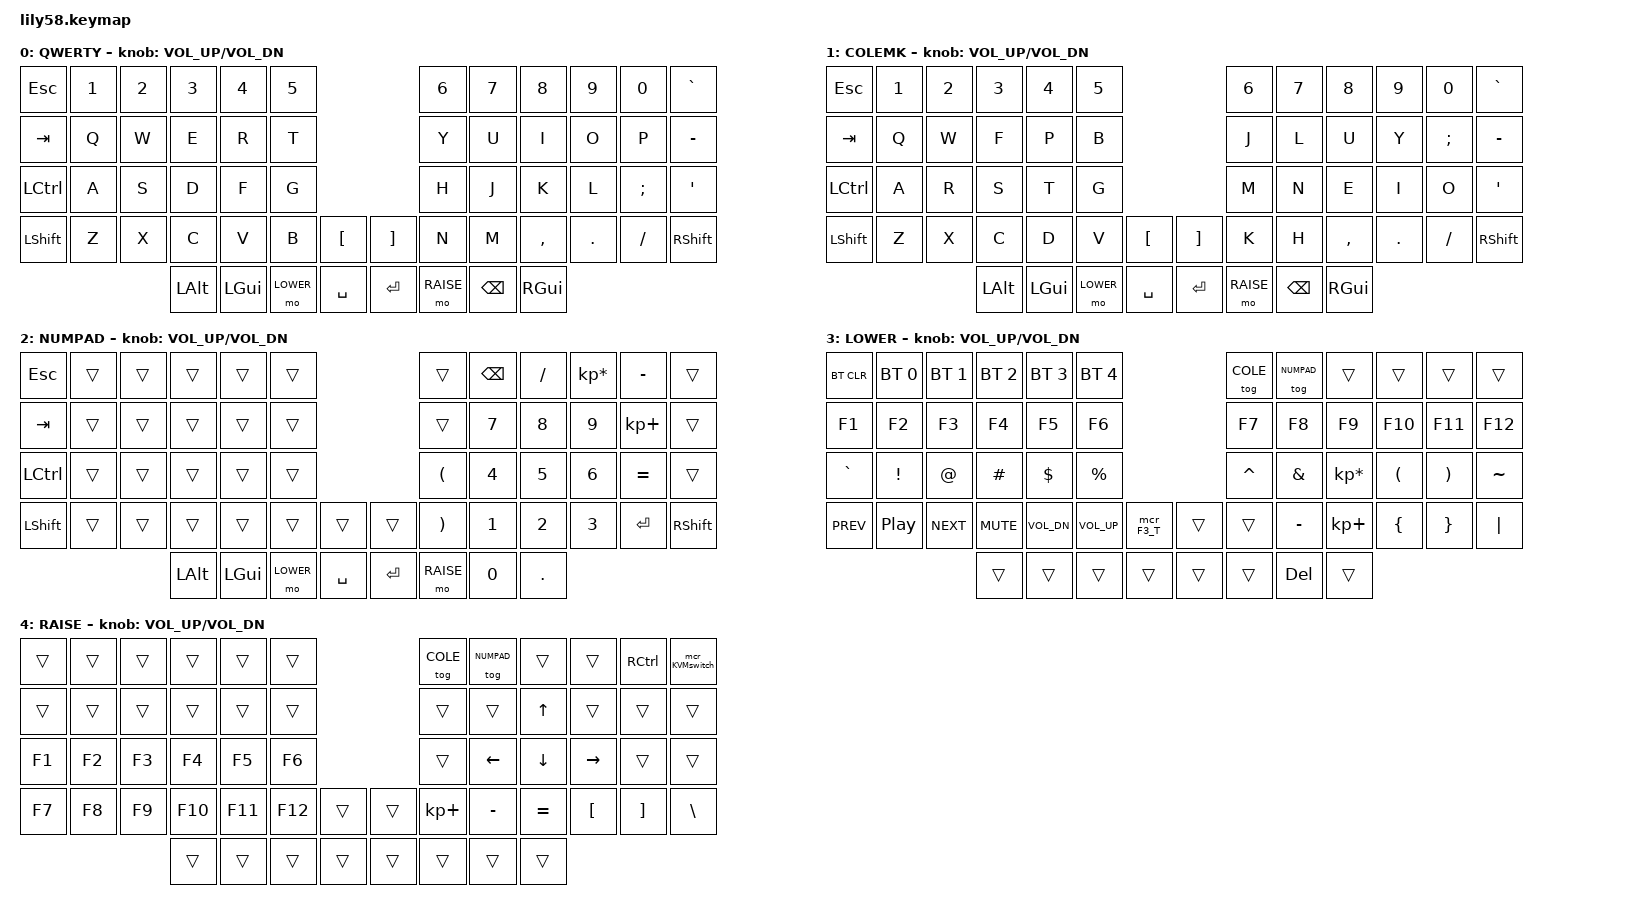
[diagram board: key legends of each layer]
/*
 * Copyright (c) 2020 The ZMK Contributors
 *
 * SPDX-License-Identifier: MIT
 */

#include <behaviors.dtsi>
#include <dt-bindings/zmk/keys.h>
#include <dt-bindings/zmk/bt.h>
#include <dt-bindings/zmk/ext_power.h>

/ {
	macros {
		mcr_KVMswitch: mcr_KVMswitch {
			label = "mcr_KVMswitch";
			compatible = "zmk,behavior-macro";
			#binding-cells = <0>;
			wait-ms = <20>;
			tap-ms = <10>;
			bindings =
				<&macro_tap &kp RCTRL>,
				<&macro_tap &kp RCTRL>,
				<&macro_tap &kp PG_DN>;
		};

		mcr_F3_T: mcr_F3_T {
			label = "mcr_F3_T";
			compatible = "zmk,behavior-macro";
			#binding-cells = <0>;
			wait-ms = <20>;
			tap-ms = <10>;
			bindings =
				<&macro_tap &kt F3>,
				<&macro_tap &kp T>,
				<&macro_tap &kt F3>;
		};
	};
};

#define QWERTY 0
#define COLE 1
#define NUMPAD 2
#define LOWER 3
#define RAISE 4

/ {
	keymap {
		compatible = "zmk,keymap";

		default_layer {
			label = "QWERTY";
// ------------------------------------------------------------------------------------------------------------
// |  ESC  |  1  |  2  |  3   |  4   |  5   |                   |  6   |  7    |  8    |  9   |   0   |   `   |
// |  TAB  |  Q  |  W  |  E   |  R   |  T   |                   |  Y   |  U    |  I    |  O   |   P   |   -   |
// |  CTRL |  A  |  S  |  D   |  F   |  G   |                   |  H   |  J    |  K    |  L   |   ;   |   '   |
// | SHIFT |  Z  |  X  |  C   |  V   |  B   |   "["  |  |  "]"  |  N   |  M    |  ,    |  .   |   /   | SHIFT |
//                     | ALT  | GUI  | LOWER|  SPACE |  | ENTER | RAISE| BSPC  | GUI   |
			bindings = <
&kp ESC   &kp N1 &kp N2 &kp N3   &kp N4   &kp N5                         &kp N6    &kp N7   &kp N8    &kp N9  &kp N0   &kp GRAVE
&kp TAB   &kp Q  &kp W  &kp E    &kp R    &kp T                          &kp Y     &kp U    &kp I     &kp O   &kp P    &kp MINUS
&kp LCTRL &kp A  &kp S  &kp D    &kp F    &kp G                          &kp H     &kp J    &kp K     &kp L   &kp SEMI &kp SQT
&kp LSHFT &kp Z  &kp X  &kp C    &kp V    &kp B      &kp LBKT   &kp RBKT &kp N     &kp M    &kp COMMA &kp DOT &kp FSLH &kp RSHFT
                        &kp LALT &kp LGUI &mo LOWER  &kp SPACE  &kp RET  &mo RAISE &kp BSPC &kp RGUI
			>;

			sensor-bindings = <&inc_dec_kp C_VOL_UP C_VOL_DN>;
		};

		colemak_layer {
			label = "COLEMK";
// ------------------------------------------------------------------------------------------------------------
// |  ESC  |  1  |  2  |  3   |  4   |  5   |                   |  6   |  7    |  8    |  9   |   0   |   `   |
// |  TAB  |  Q  |  W  |  F   |  P   |  B   |                   |  J   |  L    |  U    |  Y   |   ;   |   -   |
// |  CTRL |  A  |  R  |  S   |  T   |  G   |                   |  M   |  N    |  E    |  I   |   O   |   '   |
// | SHIFT |  Z  |  X  |  C   |  D   |  V   |   "["  |  |  "]"  |  K   |  H    |  ,    |  .   |   /   | SHIFT |
//                     | ALT  | GUI  | LOWER|  SPACE |  | ENTER | RAISE| BSPC  | GUI   |
			bindings = <
&kp ESC   &kp N1 &kp N2 &kp N3   &kp N4   &kp N5                        &kp N6    &kp N7   &kp N8    &kp N9  &kp N0   &kp GRAVE
&kp TAB   &kp Q  &kp W  &kp F    &kp P    &kp B                         &kp J     &kp L    &kp U     &kp Y   &kp SEMI &kp MINUS
&kp LCTRL &kp A  &kp R  &kp S    &kp T    &kp G                         &kp M     &kp N    &kp E     &kp I   &kp O    &kp SQT
&kp LSHFT &kp Z  &kp X  &kp C    &kp D    &kp V     &kp LBKT   &kp RBKT &kp K     &kp H    &kp COMMA &kp DOT &kp FSLH &kp RSHFT
                        &kp LALT &kp LGUI &mo LOWER &kp SPACE  &kp RET  &mo RAISE &kp BSPC &kp RGUI
			>;

			sensor-bindings = <&inc_dec_kp C_VOL_UP C_VOL_DN>;
		};
		
		numpad_layer {
			label = "NUMPAD";
// ------------------------------------------------------------------------------------------------------------
// |  ESC  |       |       |       |      |      |                   |      | BSPC  |  /    |  *   |   -   |       |
// |  TAB  |       |       |       |      |      |                   |      |  7    |  8    |  9   |   +   |       |
// |  CTRL |       |       |       |      |      |                   |  (   |  4    |  5    |  6   |   =   |       |
// | SHIFT |       |       |       |      |      |        |  |       |  )   |  1    |  2    |  3   | ENTER |       |
//                         | ALT   | GUI  | LOWER|  SPACE |  | ENTER | RAISE|  0    |  .    |
			bindings = <
&kp ESC   &trans &trans &trans   &trans   &trans                        &trans    &kp BSPC &kp FSLH  &kp KP_MULTIPLY &kp MINUS   &trans
&kp TAB   &trans &trans &trans   &trans   &trans                        &trans    &kp N7   &kp N8    &kp N9          &kp KP_PLUS &trans
&kp LCTRL &trans &trans &trans   &trans   &trans                        &kp LPAR  &kp N4   &kp N5    &kp N6          &kp EQUAL   &trans
&kp LSHFT &trans &trans &trans   &trans   &trans    &trans     &trans   &kp RPAR  &kp N1   &kp N2    &kp N3          &kp RET     &kp RSHFT
                        &kp LALT &kp LGUI &mo LOWER &kp SPACE  &kp RET  &mo RAISE &kp N0   &kp DOT
			>;

			sensor-bindings = <&inc_dec_kp C_VOL_UP C_VOL_DN>;
		};

		lower_layer {
			label = "LOWER";
// ------------------------------------------------------------------------------------------------------------
// | BTCLR | BT1 | BT2 |  BT3 |  BT4 |  BT5 |                   |COLEDH| NUMPAD|       |      |       |       |
// |  F1   |  F2 |  F3 |  F4  |  F5  |  F6  |                   |  F7  |  F8   |  F9   |  F10 |  F11  |  F12  |
// |   `   |  !  |  @  |  #   |  $   |  %   |                   |  ^   |  &    |  *    |  (   |   )   |   ~   |
// | PREV  |PLAY | NEXT| MUTE |VOLDWN|VOL UP|  F3+T  |  |       |      |  _    |  +    |  {   |   }   |  "|"  |
//                     |      |      |      |        |  |       |      |DELETE |       |
			bindings = <
&bt BT_CLR &bt BT_SEL 0     &bt BT_SEL 1      &bt BT_SEL 2      &bt BT_SEL 3 &bt BT_SEL 4                     &tog COLE    &tog NUMPAD &trans          &trans    &trans    &trans
&kp F1     &kp F2           &kp F3            &kp F4            &kp F5       &kp F6                           &kp F7       &kp F8      &kp F9          &kp F10   &kp F11   &kp F12
&kp GRAVE  &kp EXCL         &kp AT            &kp HASH          &kp DOLLAR   &kp PRCNT                        &kp CARET    &kp AMPS    &kp KP_MULTIPLY &kp LPAR  &kp RPAR  &kp TILDE
&kp C_PREV &kp C_PLAY_PAUSE &kp C_NEXT        &kp C_MUTE        &kp C_VOL_DN &kp C_VOL_UP  &mcr_F3_T   &trans    &trans       &kp MINUS   &kp KP_PLUS     &kp LBRC  &kp RBRC  &kp PIPE
                                              &trans            &trans       &trans        &trans      &trans    &trans       &kp DEL     &trans
			>;

			sensor-bindings = <&inc_dec_kp C_VOL_UP C_VOL_DN>;
		};

		raise_layer {
			label = "RAISE";
// ------------------------------------------------------------------------------------------------------------
// |       |     |     |      |      |      |                   |COLEDH| NUMPAD|       |      | RCTRL |KVMswitch|
// |       |     |     |      |      |      |                   |      |       |   ^   |      |       |         |
// |   F1  |  F2 |  F3 |  F4  |  F5  |  F6  |                   |      |   <-  |   v   |  ->  |       |         |
// |   F7  |  F8 |  F9 |  F10 |  F11 |  F12 |        |  |       |  +   |   -   |   =   |  [   |   ]   |   \     |
//                     |      |      |      |        |  |       |      |       |       |
			bindings = <
&trans    &trans &trans &trans  &trans  &trans                       &tog COLE   &tog NUMPAD &trans    &trans    &kp RCTRL &mcr_KVMswitch
&trans    &trans &trans &trans  &trans  &trans                       &trans      &trans      &kp UP    &trans    &trans    &trans
&kp F1    &kp F2 &kp F3 &kp F4  &kp F5  &kp F6                       &trans      &kp LEFT    &kp DOWN  &kp RIGHT &trans    &trans
&kp F7    &kp F8 &kp F9 &kp F10 &kp F11 &kp F12   &trans   &trans    &kp KP_PLUS &kp MINUS   &kp EQUAL &kp LBKT  &kp RBKT  &kp BSLH
                        &trans  &trans  &trans    &trans   &trans    &trans      &trans      &trans
			>;

			sensor-bindings = <&inc_dec_kp C_VOL_UP C_VOL_DN>;
		};
	};
};





//		steno {
//			label = "STENO";
// ------------------------------------------------------------------------------------------------------------
// |TogStno| num | num | num  | num  |      |                   |      |  num  |  num  | num  |  num  |  num  |
// |       |  S  |  T  |  P   |  H   |  *   |                   |  *   |  F    |  P    |  L   |   T   |   D   |
// |       |  S  |  K  |  W   |  R   |  *   |                   |  *   |  R    |  B    |  G   |   S   |   Z   |
// |       |     |     |      |      |      |        |  |       |      |       |       |      |       |       |
//                     |      |  A   |  O   |        |  |       |  E   |   U   |       |
//			bindings = <
//&tog steno &stn STN_NUM &stn STN_NUM &stn STN_NUM &stn STN_NUM &trans                            &trans        &stn STN_NUM &stn STN_NUM &stn STN_NUM &stn STN_NUM &stn STN_NUM
//&trans     &stn STN_S_  &stn STN_T_  &stn STN_P_  &stn STN_H_  &stn STN_STAR                     &stn STN_STAR &stn STN__F  &stn STN__P  &stn STN__L  &stn STN__T  &stn STN__D  
//&trans     &stn STN_S_  &stn STN_K_  &stn STN_W_  &stn STN_R_  &stn STN_STAR                     &stn STN_STAR &stn STN__R  &stn STN__B  &stn STN__G  &stn STN__S  &stn STN__Z  
//&trans     &trans       &trans       &trans       &trans       &trans        &trans     &trans   &trans        &trans       &trans       &trans       &trans       &trans
//                                     &trans       &stn STN_A   &stn STN_O    &trans     &trans   &stn STN_E    &stn STN_U   &trans  
//			>;
//
//			sensor-bindings = <&inc_dec_kp C_VOL_UP C_VOL_DN>;
//		};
